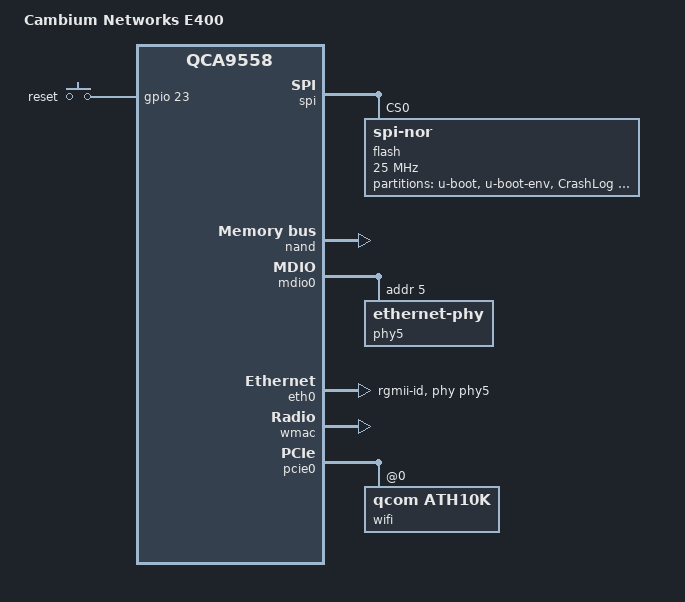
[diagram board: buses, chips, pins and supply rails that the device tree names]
// SPDX-License-Identifier: GPL-2.0-or-later OR MIT

#include "qca955x.dtsi"

#include <dt-bindings/gpio/gpio.h>
#include <dt-bindings/input/input.h>

/ {
	compatible = "cambiumnetworks,e400", "qca,qca9558";
	model = "Cambium Networks E400";

	aliases {
		label-mac-device = &eth0;
	};

	cambium-platform {
		compatible = "cambium-platform";
		board-sku = <6>;
	};

	keys {
		compatible = "gpio-keys";

		reset {
			label = "reset";
			gpios = <&gpio 23 GPIO_ACTIVE_HIGH>;
			debounce-interval = <60>;
			linux,code = <KEY_RESTART>;
		};
	};
};

&spi {
	status = "okay";

	flash@0 {
		compatible = "jedec,spi-nor";
		reg = <0>;
		spi-max-frequency = <25000000>;

		partitions {
			compatible = "fixed-partitions";
			#address-cells = <1>;
			#size-cells = <1>;

			partition@0 {
				label = "u-boot";
				reg = <0x000000 0x040000>;
				read-only;
			};

			gambit_env: partition@40000 {
				label = "u-boot-env";
				reg = <0x040000 0x010000>;
				read-only;
			};

			partition@50000 {
				label = "CrashLog";
				reg = <0x050000 0x790000>;
				read-only;
			};

			partition@7e0000 {
				label = "mfginfo";
				reg = <0x7e0000 0x010000>;
				read-only;

				nvmem-layout {
					compatible = "fixed-layout";
					#address-cells = <1>;
					#size-cells = <1>;

					/* Factory TLV type 1: twelve hexadecimal MAC digits. */
					macaddr_mfginfo_6: macaddr@6 {
						compatible = "mac-base";
						reg = <0x6 0xc>;
						#nvmem-cell-cells = <1>;
					};
				};
			};

			partition@7f0000 {
				label = "ART";
				reg = <0x7f0000 0x010000>;
				read-only;

				nvmem-layout {
					compatible = "fixed-layout";
					#address-cells = <1>;
					#size-cells = <1>;

					cal_art_1000: calibration@1000 {
						reg = <0x1000 0x440>;
					};

					cal_art_5000: calibration@5000 {
						reg = <0x5000 0x844>;
					};
				};
			};
		};
	};
};

&nand {
	status = "okay";

	partitions {
		compatible = "fixed-partitions";
		#address-cells = <1>;
		#size-cells = <1>;

		gambit_linux0: partition@0 {
			label = "linux0";
			reg = <0x0000000 0x0300000>;
			read-only;
		};

		gambit_rootfs0: partition@300000 {
			label = "rootfs0";
			reg = <0x0300000 0x2d00000>;
			read-only;
		};

		gambit_linux1: partition@3000000 {
			label = "linux1";
			reg = <0x3000000 0x0300000>;
			read-only;
		};

		gambit_rootfs1: partition@3300000 {
			label = "rootfs1";
			reg = <0x3300000 0x2d00000>;
			read-only;
		};

		partition@6000000 {
			label = "nvram";
			reg = <0x6000000 0x2000000>;
			read-only;
		};
	};
};

&mdio0 {
	status = "okay";

	phy5: ethernet-phy@5 {
		reg = <5>;
		eee-broken-100tx;
		eee-broken-1000t;
	};
};

&eth0 {
	status = "okay";
	nvmem-cells = <&macaddr_mfginfo_6 0>;
	nvmem-cell-names = "mac-address";

	phy-handle = <&phy5>;
	phy-mode = "rgmii-id";

	pll-data = <0x82000000 0x80000101 0x80001313>;
};

&wmac {
	status = "okay";

	nvmem-cells = <&cal_art_1000>;
	nvmem-cell-names = "calibration";
};

&pcie0 {
	status = "okay";

	wifi@0,0 {
		compatible = "qcom,ath10k";
		reg = <0 0 0 0 0>;
		nvmem-cells = <&cal_art_5000>;
		nvmem-cell-names = "calibration";
	};
};
